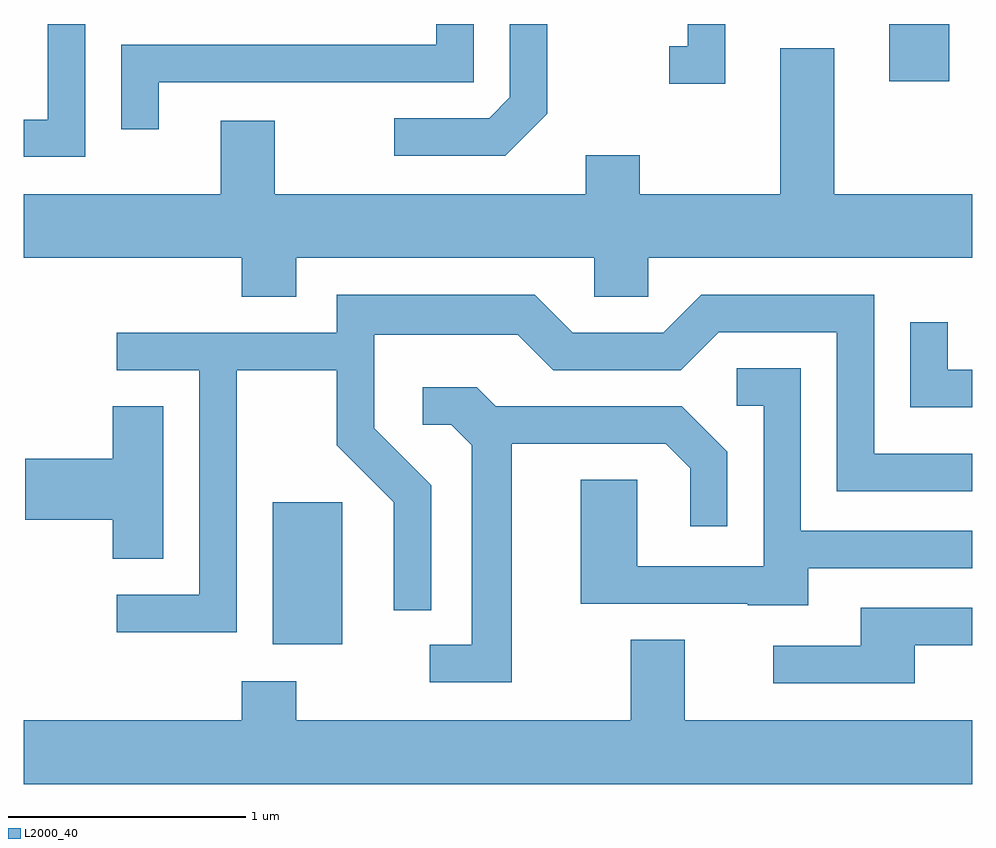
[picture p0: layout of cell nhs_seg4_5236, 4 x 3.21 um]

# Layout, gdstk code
import gdstk
lib = gdstk.Library(unit=1e-6, precision=1e-09)
def R(c, l, rs):  # rectangles x0, y0, x1, y1
    for r in rs: c.add(gdstk.rectangle(r[:2], r[2:], *l))
def P(c, l, *ps):  # polygons
    for p in ps: c.add(gdstk.Polygon(p, *l))
L2000_40 = (2000, 40)

nhs_seg4_5236 = lib.new_cell('nhs_seg4_5236')
R(nhs_seg4_5236, L2000_40, [(340.661,1255.366,340.954,1255.964), (343.261,1257.741,343.514,1257.982)])
P(nhs_seg4_5236, L2000_40, [(341.819,1257.604),(341.819,1257.982),(341.661,1257.982),(341.661,1257.672),(341.574,1257.584),(341.173,1257.584),(341.173,1257.426),(341.642,1257.426)],
  [(340.179,1257.736),(341.509,1257.736),(341.509,1257.982),(341.351,1257.982),(341.351,1257.894),(340.021,1257.894),(340.021,1257.538),(340.179,1257.538)],
  [(342.569,1257.982),(342.411,1257.982),(342.411,1257.889),(342.333,1257.889),(342.333,1257.731),(342.569,1257.731)],
  [(339.869,1257.982),(339.711,1257.982),(339.711,1257.579),(339.611,1257.579),(339.611,1257.421),(339.869,1257.421)],
  [(340.759,1256.996),(342.016,1256.996),(342.016,1256.831),(342.244,1256.831),(342.244,1256.996),(343.611,1256.996),(343.611,1257.264),(343.029,1257.264),(343.029,1257.879),(342.801,1257.879),(342.801,1257.264),(342.209,1257.264),(342.209,1257.429),(341.981,1257.429),(341.981,1257.264),(340.669,1257.264),(340.669,1257.574),(340.441,1257.574),(340.441,1257.264),(339.611,1257.264),(339.611,1256.996),(340.531,1256.996),(340.531,1256.831),(340.759,1256.831)],
  [(340.509,1256.521),(340.931,1256.521),(340.931,1256.204),(341.171,1255.964),(341.171,1255.508),(341.329,1255.508),(341.329,1256.037),(341.089,1256.277),(341.089,1256.671),(341.694,1256.671),(341.844,1256.521),(342.382,1256.521),(342.542,1256.681),(343.041,1256.681),(343.041,1256.011),(343.611,1256.011),(343.611,1256.169),(343.199,1256.169),(343.199,1256.839),(342.469,1256.839),(342.309,1256.679),(341.927,1256.679),(341.767,1256.839),(340.931,1256.839),(340.931,1256.679),(340.003,1256.679),(340.003,1256.521),(340.351,1256.521),(340.351,1255.574),(340.003,1255.574),(340.003,1255.416),(340.509,1255.416)],
  [(343.611,1256.524),(343.509,1256.524),(343.509,1256.723),(343.351,1256.723),(343.351,1256.366),(343.611,1256.366)],
  [(342.919,1255.686),(343.611,1255.686),(343.611,1255.844),(342.889,1255.844),(342.889,1256.529),(342.618,1256.529),(342.618,1256.371),(342.731,1256.371),(342.731,1255.694),(342.199,1255.694),(342.199,1256.059),(341.961,1256.059),(341.961,1255.536),(342.665,1255.536),(342.665,1255.531),(342.919,1255.531)],
  [(341.669,1256.211),(342.319,1256.211),(342.421,1256.109),(342.421,1255.863),(342.579,1255.863),(342.579,1256.177),(342.387,1256.369),(341.602,1256.369),(341.522,1256.449),(341.293,1256.449),(341.293,1256.291),(341.414,1256.291),(341.501,1256.204),(341.501,1255.364),(341.323,1255.364),(341.323,1255.206),(341.669,1255.206)],
  [(340.199,1256.369),(339.986,1256.369),(339.986,1256.149),(339.616,1256.149),(339.616,1255.891),(339.986,1255.891),(339.986,1255.726),(340.199,1255.726)],
  [(343.369,1255.361),(343.611,1255.361),(343.611,1255.519),(343.141,1255.519),(343.141,1255.359),(342.773,1255.359),(342.773,1255.201),(343.369,1255.201)],
  [(343.611,1255.044),(342.399,1255.044),(342.399,1255.384),(342.171,1255.384),(342.171,1255.044),(340.759,1255.044),(340.759,1255.209),(340.531,1255.209),(340.531,1255.044),(339.611,1255.044),(339.611,1254.776),(343.611,1254.776)])

lib.write_gds('nhs_seg4_5236.gds')
